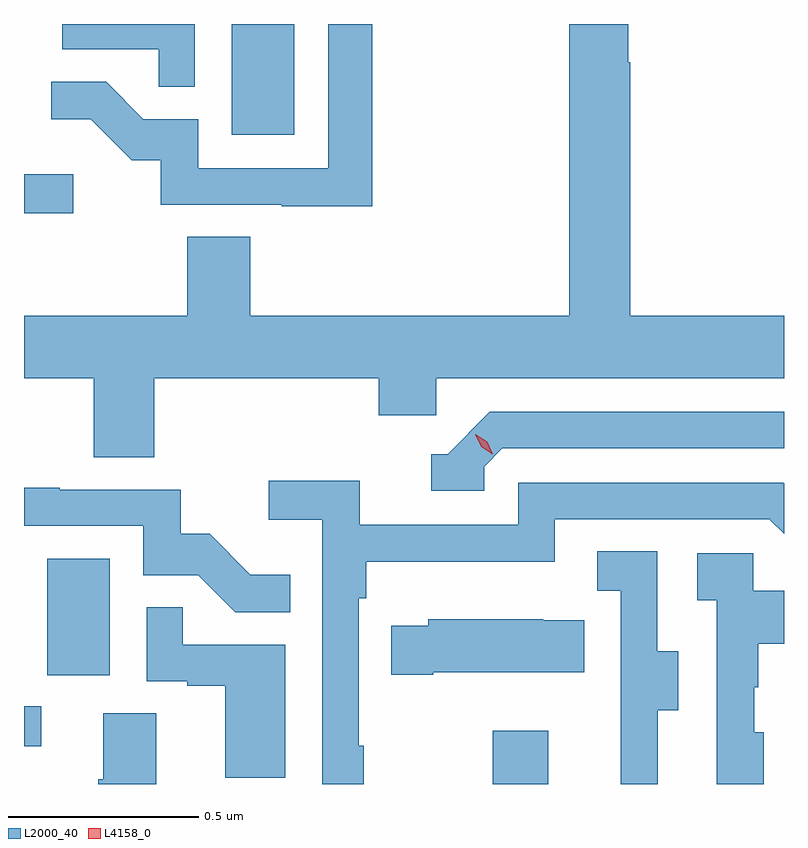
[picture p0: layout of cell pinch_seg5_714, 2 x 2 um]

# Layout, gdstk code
import gdstk
lib = gdstk.Library(unit=1e-6, precision=1e-09)
def R(c, l, rs):  # rectangles x0, y0, x1, y1
    for r in rs: c.add(gdstk.rectangle(r[:2], r[2:], *l))
def P(c, l, *ps):  # polygons
    for p in ps: c.add(gdstk.Polygon(p, *l))
L2000_40 = (2000, 40)
L4158_0 = (4158, 0)

pinch_seg5_714 = lib.new_cell('pinch_seg5_714')
R(pinch_seg5_714, L2000_40, [(1119.76,843.704,1119.907,843.844), (1118.527,843.804,1118.572,843.909), (1118.588,843.99,1118.752,844.297), (1118.527,845.206,1118.656,845.308), (1119.074,845.412,1119.238,845.704)])
P(pinch_seg5_714, L2000_40, [(1119.443,845.704),(1119.327,845.704),(1119.327,845.325),(1118.985,845.325),(1118.985,845.454),(1118.841,845.454),(1118.743,845.552),(1118.599,845.552),(1118.599,845.453),(1118.703,845.453),(1118.81,845.346),(1118.887,845.346),(1118.887,845.229),(1119.205,845.229),(1119.205,845.224),(1119.443,845.224)],
  [(1118.87,844.772),(1119.461,844.772),(1119.461,844.674),(1119.612,844.674),(1119.612,844.772),(1120.527,844.772),(1120.527,844.936),(1120.122,844.936),(1120.122,845.603),(1120.117,845.603),(1120.117,845.704),(1119.962,845.704),(1119.962,844.936),(1119.122,844.936),(1119.122,845.144),(1118.957,845.144),(1118.957,844.936),(1118.527,844.936),(1118.527,844.772),(1118.71,844.772),(1118.71,844.564),(1118.87,844.564)],
  [(1118.976,845.704),(1118.627,845.704),(1118.627,845.637),(1118.881,845.637),(1118.881,845.539),(1118.976,845.539)],
  [(1119.738,844.539),(1119.786,844.587),(1120.527,844.587),(1120.527,844.683),(1119.753,844.683),(1119.642,844.572),(1119.599,844.572),(1119.599,844.476),(1119.738,844.476)],
  [(1119.421,843.805),(1119.408,843.805),(1119.408,844.193),(1119.428,844.193),(1119.428,844.289),(1119.924,844.289),(1119.924,844.401),(1120.488,844.401),(1120.527,844.362),(1120.527,844.495),(1120.525,844.497),(1119.828,844.497),(1119.828,844.386),(1119.41,844.386),(1119.41,844.502),(1119.171,844.502),(1119.171,844.4),(1119.312,844.4),(1119.312,843.704),(1119.421,843.704)],
  [(1119.227,844.255),(1119.123,844.255),(1119.016,844.362),(1118.94,844.362),(1118.94,844.479),(1118.621,844.479),(1118.621,844.484),(1118.527,844.484),(1118.527,844.383),(1118.841,844.383),(1118.841,844.254),(1118.985,844.254),(1119.083,844.156),(1119.227,844.156)],
  [(1120.195,843.898),(1120.249,843.898),(1120.249,844.053),(1120.194,844.053),(1120.194,844.316),(1120.035,844.316),(1120.035,844.213),(1120.098,844.213),(1120.098,843.909),(1120.097,843.909),(1120.097,843.704),(1120.195,843.704)],
  [(1120.474,843.84),(1120.449,843.84),(1120.449,843.959),(1120.459,843.959),(1120.459,844.073),(1120.527,844.073),(1120.527,844.213),(1120.446,844.213),(1120.446,844.311),(1120.299,844.311),(1120.299,844.187),(1120.35,844.187),(1120.35,843.704),(1120.474,843.704)],
  [(1119.214,844.071),(1118.945,844.071),(1118.945,844.169),(1118.85,844.169),(1118.85,843.975),(1118.957,843.975),(1118.957,843.963),(1119.056,843.963),(1119.056,843.72),(1119.214,843.72)],
  [(1119.604,843.998),(1120.001,843.998),(1120.001,844.135),(1119.893,844.135),(1119.893,844.138),(1119.591,844.138),(1119.591,844.12),(1119.493,844.12),(1119.493,843.991),(1119.604,843.991)],
  [(1118.875,843.89),(1118.735,843.89),(1118.735,843.716),(1118.723,843.716),(1118.723,843.704),(1118.875,843.704)])
P(pinch_seg5_714, L4158_0, [(1119.761,844.572),(1119.73,844.592),(1119.715,844.625),(1119.715,844.625),(1119.715,844.625),(1119.746,844.605),(1119.761,844.572),(1119.761,844.572)])

lib.write_gds('pinch_seg5_714.gds')
